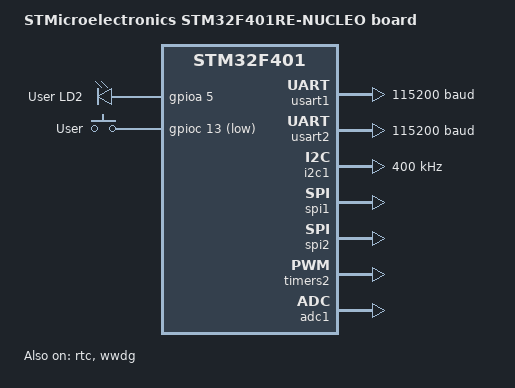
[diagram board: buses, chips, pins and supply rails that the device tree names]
/*
 * Copyright (c) 2017 Linaro Limited
 * Copyright (c) 2019 Centaur Analytics, Inc
 *
 * SPDX-License-Identifier: Apache-2.0
 */

/dts-v1/;
#include <st/f4/stm32f401Xe.dtsi>
#include "arduino_r3_connector.dtsi"

/ {
	model = "STMicroelectronics STM32F401RE-NUCLEO board";
	compatible = "st,stm32f401re-nucleo", "st,stm32f401";

	chosen {
		zephyr,console = &usart2;
		zephyr,shell-uart = &usart2;
		zephyr,sram = &sram0;
		zephyr,flash = &flash0;
		zephyr,code-partition = &slot0_partition;
	};

	leds {
		compatible = "gpio-leds";
		green_led_2: led_2 {
			gpios = <&gpioa 5 GPIO_INT_ACTIVE_HIGH>;
			label = "User LD2";
		};
	};

	gpio_keys {
		compatible = "gpio-keys";
		user_button: button {
			label = "User";
			gpios = <&gpioc 13 GPIO_INT_ACTIVE_LOW>;
		};
	};

	aliases {
		led0 = &green_led_2;
		sw0 = &user_button;
	};
};

&usart1 {
	current-speed = <115200>;
	pinctrl-0 = <&usart1_pins_a>;
	pinctrl-names = "default";
	status = "okay";
};

&usart2 {
	current-speed = <115200>;
	pinctrl-0 = <&usart2_pins_a>;
	pinctrl-names = "default";
	status = "okay";
};

&i2c1 {
	status = "okay";
	clock-frequency = <I2C_BITRATE_FAST>;
};

&spi1 {
	status = "okay";
};

&spi2 {
	status = "okay";
};

&flash0 {
	/*
	 * For more information, see:
	 * http://docs.zephyrproject.org/latest/guides/dts/index.html#flash-partitions
	 */
	partitions {
		compatible = "fixed-partitions";
		#address-cells = <1>;
		#size-cells = <1>;

		boot_partition: partition@0 {
			label = "mcuboot";
			reg = <0x00000000 0x00010000>;
			read-only;
		};

		/*
		 * The flash starting at offset 0x10000 and ending at
		 * offset 0x1ffff is reserved for use by the application.
		 */

		slot0_partition: partition@20000 {
			label = "image-0";
			reg = <0x00020000 0x00020000>;
		};
		slot1_partition: partition@40000 {
			label = "image-1";
			reg = <0x00040000 0x00020000>;
		};
		scratch_partition: partition@60000 {
			label = "image-scratch";
			reg = <0x00060000 0x00020000>;
		};
	};


};

&timers2 {
	status = "okay";

	pwm {
		status = "okay";
	};
};

&rtc {
	status = "okay";
};

&adc1 {
	status = "okay";
};

&wwdg {
	status = "okay";
};
